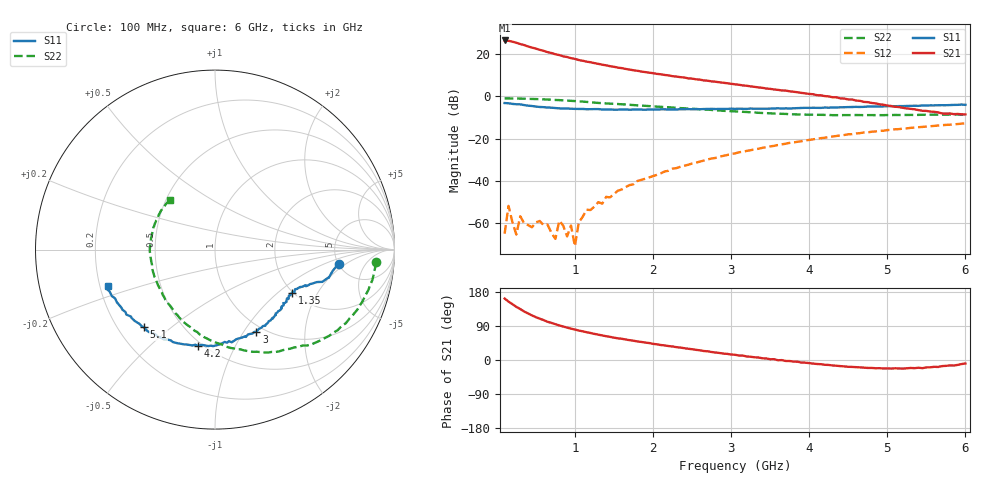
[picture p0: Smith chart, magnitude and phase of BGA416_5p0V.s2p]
!  INFINEON TECHNOLOGIES Silicon Discrete Components
!  BGA416
!  Vcc=5.0 V
!  Common Emitter S-Parameters:  5. October 2001
#  Hz  S  DB  R  50
! f  S11  S21  S12  S22
! Hz  Mag  Ang  Mag  Ang  Mag  Ang  Mag  Ang
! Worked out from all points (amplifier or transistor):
!   119 points, 100 MHz to 6 GHz, reference 50 ohm
!   highest |S21| = 26.4 dB at 100 MHz (marker M1)
!   |S21| within 3 dB of that: start of sweep to 415 MHz
!   unconditionally stable (mu >= 1): start of sweep to 143.1 MHz; 157.1 MHz to end of sweep
!   at 1.05 GHz: K = 19.77, MAG = 22.3 dB, |S12| = -59.4 dB
!   at 3.05 GHz: K = 3.25, MAG = 8.3 dB, |S12| = -26.9 dB
!   at 6 GHz: K = 3.12, MAG = -5.7 dB, |S12| = -12.7 dB
!   S11 on the Smith chart (normalised r, x): 100 MHz: 5.06, -1.62; 1.35 GHz: 1.98, -1.25; 3 GHz: 0.92, -1.14; 4.2 GHz: 0.47, -0.72; 5.1 GHz: 0.31, -0.40; 6 GHz: 0.23, -0.15
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1e8  -3.14 -6.8  26.42 162.2  -64.82 -11.4  -0.94 -4.5
1.5e8  -3.26 -7.2  26.25 154.2  -51.70 -91.0  -0.94 -6.6
2e8  -3.53 -10.4  25.84 147.4  -59.37 14.1  -0.96 -8.9
2.5e8  -3.70 -13.9  25.33 140.2  -65.24 45.1  -0.98 -10.9
3e8  -3.76 -14.0  24.74 134.4  -56.57 -13.1  -1.05 -13.1
3.5e8  -4.09 -16.7  24.25 128.0  -59.95 -3.4  -1.08 -14.9
4.5e8  -4.54 -17.8  23.05 117.7  -61.80 30.6  -1.20 -19.3
6.5e8  -5.26 -22.0  20.91 100.9  -60.56 25.2  -1.49 -27.0
9e8  -5.73 -24.0  18.59 85.4  -66.11 -70.7  -1.97 -37.0
9.5e8  -5.82 -24.6  18.08 82.8  -60.95 -56.1  -2.10 -38.9
1e9  -5.90 -25.5  17.71 80.3  -70.72 -123.7  -2.20 -40.6
1.1e9  -5.92 -25.7  16.85 75.7  -56.86 -90.8  -2.44 -44.3
1.35e9  -6.18 -29.2  14.98 64.8  -50.63 -129.1  -3.19 -52.9
1.7e9  -6.29 -34.1  12.67 52.3  -41.88 -148.9  -3.96 -64.6
2.1e9  -6.09 -41.3  10.45 39.5  -36.31 -159.7  -4.91 -77.7
3e9  -5.80 -63.2  5.98 14.5  -27.19 173.9  -6.98 -110.2
3.05e9  -5.88 -64.3  5.71 13.8  -26.93 172.8  -7.07 -111.9
4.05e9  -5.37 -93.8  1.03 -9.4  -20.28 147.0  -8.63 -155.3
4.2e9  -5.27 -100.1  0.15 -12.6  -19.50 142.7  -8.73 -162.0
5.05e9  -4.59 -130.0  -4.56 -22.5  -15.81 119.5  -8.81 162.3
5.1e9  -4.63 -132.6  -4.89 -21.9  -15.52 118.0  -8.76 160.1
6e9  -3.99 -161.4  -8.51 -9.3  -12.73 94.6  -8.51 132.4
